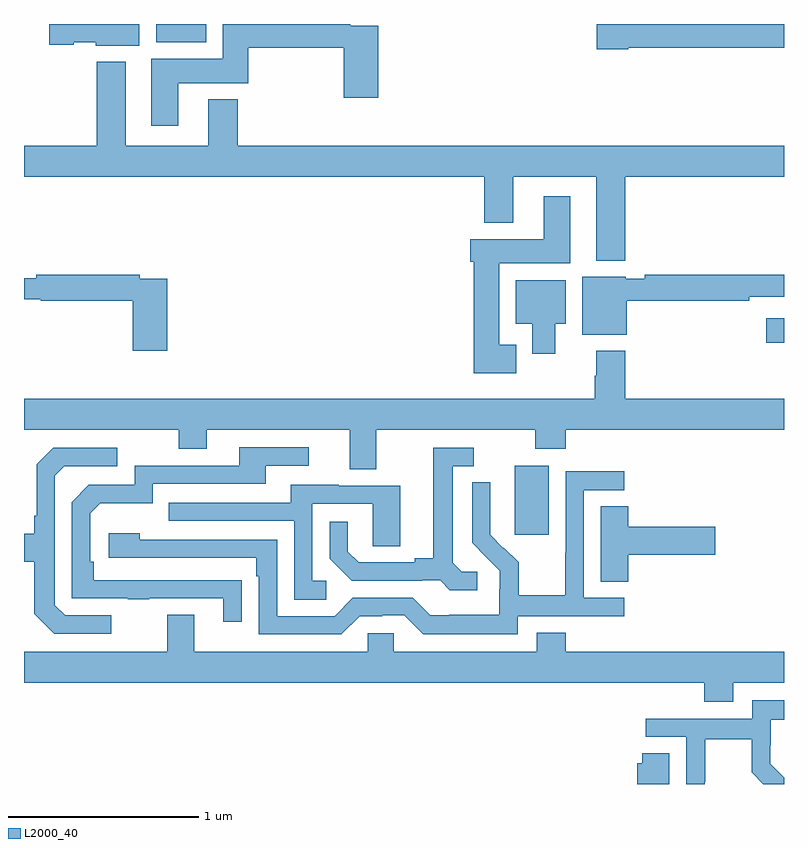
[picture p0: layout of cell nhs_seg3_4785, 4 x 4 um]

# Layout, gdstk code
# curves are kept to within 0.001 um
import gdstk
lib = gdstk.Library(unit=1e-6, precision=1e-09)
def R(c, l, rs):  # rectangles x0, y0, x1, y1
    for r in rs: c.add(gdstk.rectangle(r[:2], r[2:], *l))
def P(c, l, *ps):  # polygons
    for p in ps: c.add(gdstk.Polygon(p, *l))
L2000_40 = (2000, 40)

nhs_seg3_4785 = lib.new_cell('nhs_seg3_4785')
R(nhs_seg3_4785, L2000_40, [(371.582,685.713,371.761,686.074), (372.906,686.722,373,686.851), (369.695,688.304,369.958,688.4)])
P(nhs_seg3_4785, L2000_40, [(369.811,688.088),(370.181,688.088),(370.181,688.276),(370.682,688.276),(370.682,688.011),(370.865,688.011),(370.865,688.392),(370.718,688.392),(370.718,688.4),(370.046,688.4),(370.046,688.216),(369.671,688.216),(369.671,687.864),(369.811,687.864)],
  [(369.607,688.4),(369.132,688.4),(369.132,688.292),(369.261,688.292),(369.261,688.304),(369.378,688.304),(369.378,688.286),(369.607,688.286)],
  [(372.18,688.276),(373,688.276),(373,688.4),(372.014,688.4),(372.014,688.268),(372.18,688.268)],
  [(371.423,687.353),(371.575,687.353),(371.575,687.596),(372.011,687.596),(372.011,687.155),(372.164,687.155),(372.164,687.596),(373,687.596),(373,687.76),(370.124,687.76),(370.124,688.003),(369.971,688.003),(369.971,687.76),(369.535,687.76),(369.535,688.201),(369.383,688.201),(369.383,687.76),(369,687.76),(369,687.596),(371.423,687.596)],
  [(371.59,686.713),(371.5,686.713),(371.5,687.14),(371.875,687.14),(371.875,687.493),(371.735,687.493),(371.735,687.268),(371.348,687.268),(371.348,687.15),(371.366,687.15),(371.366,686.561),(371.59,686.561)],
  [(372.172,686.944),(372.818,686.944),(372.818,686.964),(373,686.964),(373,687.08),(372.268,687.08),(372.268,687.06),(372.168,687.06),(372.168,687.07),(371.939,687.07),(371.939,686.765),(372.172,686.765)],
  [(369.755,687.06),(369.608,687.06),(369.608,687.08),(369.064,687.08),(369.064,687.061),(369,687.061),(369,686.952),(369.088,686.952),(369.088,686.944),(369.572,686.944),(369.572,686.679),(369.755,686.679)],
  [(371.797,686.822),(371.851,686.822),(371.851,687.052),(371.588,687.052),(371.588,686.822),(371.675,686.822),(371.675,686.664),(371.797,686.664)],
  [(370.855,686.264),(371.692,686.264),(371.692,686.165),(371.852,686.165),(371.852,686.264),(373,686.264),(373,686.428),(372.164,686.428),(372.164,686.68),(372.011,686.68),(372.011,686.549),(372.004,686.549),(372.004,686.428),(369,686.428),(369,686.264),(369.814,686.264),(369.814,686.165),(369.961,686.165),(369.961,686.264),(370.715,686.264),(370.715,686.056),(370.855,686.056)],
  [(370.145,685.472),(369.368,685.473),(369.368,685.57),(369.348,685.57),(369.348,685.824),(369.401,685.877),(369.678,685.877),(369.678,685.98),(370.273,685.98),(370.273,686.076),(370.498,686.076),(370.498,686.172),(370.133,686.172),(370.133,686.076),(369.582,686.076),(369.582,685.974),(369.342,685.974),(369.252,685.884),(369.252,685.377),(369.547,685.377),(369.547,685.372),(369.659,685.372),(369.659,685.377),(370.049,685.377),(370.049,685.254),(370.145,685.254)],
  [(371.386,685.518),(371.304,685.518),(371.257,685.565),(371.257,686.073),(371.368,686.073),(371.368,686.169),(371.153,686.169),(371.153,685.589),(371.057,685.589),(371.057,685.566),(370.762,685.566),(370.705,685.623),(370.705,685.78),(370.608,685.78),(370.608,685.586),(370.724,685.47),(371.096,685.47),(371.096,685.473),(371.19,685.473),(371.242,685.421),(371.386,685.421)],
  [(369.46,685.287),(369.216,685.287),(369.162,685.341),(369.162,686.022),(369.213,686.073),(369.49,686.073),(369.49,686.169),(369.153,686.169),(369.066,686.082),(369.066,685.813),(369.054,685.813),(369.054,685.717),(369,685.717),(369,685.57),(369.054,685.57),(369.054,685.297),(369.159,685.191),(369.46,685.191)],
  [(371.598,685.284),(372.16,685.284),(372.16,685.38),(371.946,685.38),(371.946,685.947),(372.16,685.947),(372.16,686.046),(371.85,686.046),(371.85,685.616),(371.848,685.616),(371.848,685.393),(371.603,685.393),(371.603,685.567),(371.526,685.644),(371.523,685.641),(371.453,685.712),(371.454,685.988),(371.358,685.988),(371.358,685.67),(371.504,685.522),(371.504,685.425),(371.502,685.425),(371.502,685.291),(371.239,685.291),(371.239,685.287),(371.139,685.287),(371.046,685.38),(370.731,685.38),(370.635,685.284),(370.332,685.284),(370.332,685.686),(369.608,685.686),(369.608,685.72),(369.447,685.72),(369.447,685.59),(370.223,685.59),(370.223,685.493),(370.236,685.493),(370.236,685.188),(370.671,685.188),(370.767,685.284),(370.886,685.284),(370.886,685.287),(371.001,685.287),(371.101,685.187),(371.598,685.187)],
  [(370.591,685.47),(370.518,685.47),(370.518,685.875),(370.836,685.875),(370.836,685.651),(370.981,685.651),(370.981,685.971),(370.657,685.971),(370.657,685.975),(370.403,685.975),(370.403,685.881),(369.763,685.881),(369.763,685.785),(370.422,685.785),(370.422,685.369),(370.591,685.369)],
  [(372.179,685.607),(372.637,685.607),(372.637,685.754),(372.179,685.754),(372.179,685.862),(372.035,685.862),(372.035,685.465),(372.179,685.465)],
  [(372.733,684.932),(373,684.932),(373,685.096),(371.852,685.096),(371.852,685.195),(371.699,685.195),(371.699,685.096),(370.947,685.096),(370.947,685.194),(370.809,685.194),(370.809,685.096),(369.895,685.096),(369.895,685.291),(369.755,685.291),(369.755,685.096),(369,685.096),(369,684.932),(372.581,684.932),(372.581,684.833),(372.733,684.833)],
  [(372.582,684.412),(372.585,684.412),(372.585,684.636),(372.829,684.636),(372.829,684.461),(372.89,684.4),(373,684.4),(373,684.434),(372.928,684.506),(372.928,684.603),(372.93,684.603),(372.93,684.737),(373,684.737),(373,684.841),(372.834,684.841),(372.834,684.744),(372.273,684.744),(372.273,684.648),(372.486,684.648),(372.486,684.4),(372.582,684.4)],
  [(372.397,684.563),(372.254,684.563),(372.254,684.51),(372.227,684.51),(372.227,684.4),(372.397,684.4)])

lib.write_gds('nhs_seg3_4785.gds')
